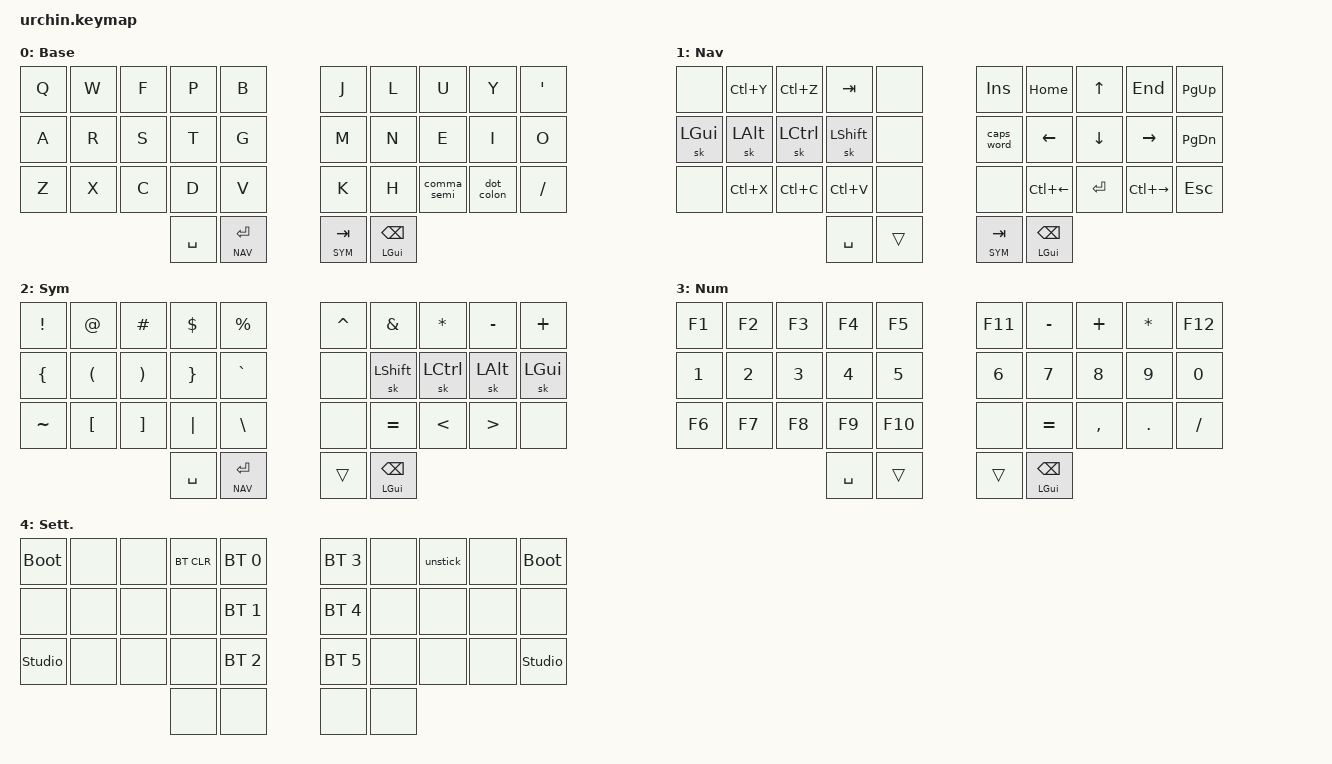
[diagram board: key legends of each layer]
/*
 * Urchin 34-key Colemak-DH keymap
 * Callum-style one-shot mods, tri-layer via conditional layers
 *
 * SPDX-License-Identifier: MIT
 */

#include <behaviors.dtsi>
#include <dt-bindings/zmk/keys.h>
#include <dt-bindings/zmk/bt.h>
#include <dt-bindings/zmk/outputs.h>

// Layer definitions
#define BASE 0
#define NAV 1
#define SYM 2
#define NUM 3
#define SETTINGS 4

/*
 * Key positions (Urchin 34-key):
 *  0  1  2  3  4       5  6  7  8  9
 * 10 11 12 13 14      15 16 17 18 19
 * 20 21 22 23 24      25 26 27 28 29
 *          30 31      32 33
 */

&sk {
	// allow stacking one-shot mods
	ignore-modifiers;
};

/ {
	behaviors {
		// Right outer thumb: tap=Backspace, hold=LGUI
		bspc_gui: backspace_gui {
			compatible = "zmk,behavior-hold-tap";
			#binding-cells = <2>;
			flavor = "balanced";
			tapping-term-ms = <200>;
			bindings = <&kp>, <&kp>;
		};

		// Comma → Semicolon on shift
		comma_semi: comma_semicolon {
			compatible = "zmk,behavior-mod-morph";
			#binding-cells = <0>;
			bindings = <&kp COMMA>, <&kp SEMI>;
			mods = <(MOD_LSFT|MOD_RSFT)>;
		};

		// Period → Colon on shift
		dot_colon: dot_colon {
			compatible = "zmk,behavior-mod-morph";
			#binding-cells = <0>;
			bindings = <&kp DOT>, <&kp COLON>;
			mods = <(MOD_LSFT|MOD_RSFT)>;
		};
	};

	macros {
		// Press all modifiers to unstick phantom held mods
		unstick: unstick {
			compatible = "zmk,behavior-macro";
			#binding-cells = <0>;
			bindings = <&kp LSHIFT &kp RSHIFT &kp LCTRL &kp RCTRL &kp LALT &kp RALT &kp LGUI &kp RGUI>;
		};
	};

	combos {
		compatible = "zmk,combos";

		// W + F → Escape
		combo_esc {
			timeout-ms = <50>;
			require-prior-idle-ms = <150>;
			key-positions = <1 2>;
			bindings = <&kp ESC>;
			layers = <BASE>;
		};

		// N + E → CapsWord
		combo_capsword {
			timeout-ms = <50>;
			require-prior-idle-ms = <150>;
			key-positions = <16 17>;
			bindings = <&caps_word>;
			layers = <BASE>;
		};

		// Both left thumbs → Settings layer
		combo_settings {
			timeout-ms = <200>;
			key-positions = <30 31>;
			bindings = <&mo SETTINGS>;
		};
	};

	conditional_layers {
		compatible = "zmk,conditional-layers";

		// Nav + Sym → Num (tri-layer)
		tri_layer {
			if-layers = <NAV SYM>;
			then-layer = <NUM>;
		};
	};

	keymap {
		compatible = "zmk,keymap";

		// Layer 0: BASE (Colemak-DH)
		// Q  W  F  P  B          J  L  U  Y  '
		// A  R  S  T  G          M  N  E  I  O
		// Z  X  C  D  V          K  H  ,; .: /
		//       Space Nav/Ent    Sym/Tab Bksp/Super
		default_layer {
			label = "Base";
			bindings = <
			&kp Q &kp W &kp F &kp P &kp B          &kp J &kp L &kp U        &kp Y       &kp SQT
			&kp A &kp R &kp S &kp T &kp G          &kp M &kp N &kp E        &kp I       &kp O
			&kp Z &kp X &kp C &kp D &kp V          &kp K &kp H &comma_semi  &dot_colon  &kp FSLH
			             &kp SPACE &lt NAV ENTER     &lt SYM TAB &bspc_gui LGUI BSPC
			>;
		};

		// Layer 1: NAV (hold left inner thumb)
		// ---   Redo  Undo  Tab   ---        Ins   Home  Up    End   PgUp
		// Super Alt   Ctrl  Shift ---        CapsW Left  Down  Right PgDn
		// ---   Cut   Copy  Paste ---        ---   W←    Enter W→    Esc
		//              Space HELD              Sym/Tab Bksp/Super
		nav_layer {
			label = "Nav";
			bindings = <
			&none    &kp LC(Y) &kp LC(Z)  &kp TAB    &none          &kp INS     &kp HOME     &kp UP    &kp END      &kp PG_UP
			&sk LGUI &sk LALT  &sk LCTRL  &sk LSHFT  &none          &caps_word  &kp LEFT     &kp DOWN  &kp RIGHT    &kp PG_DN
			&none    &kp LC(X) &kp LC(C)  &kp LC(V)  &none          &none       &kp LC(LEFT) &kp ENTER &kp LC(RIGHT) &kp ESC
			                   &kp SPACE  &trans                     &lt SYM TAB &bspc_gui LGUI BSPC
			>;
		};

		// Layer 2: SYM (hold right inner thumb)
		// !  @  #  $  %          ^  &  *  -  +
		// {  (  )  }  `          --- Shift Ctrl Alt Super
		// ~  [  ]  |  \          --- =  <  >  ---
		//        Space Nav/Ent     HELD  Bksp/Super
		sym_layer {
			label = "Sym";
			bindings = <
			&kp EXCL  &kp AT   &kp HASH &kp DLLR &kp PRCNT      &kp CARET &kp AMPS  &kp ASTRK &kp MINUS &kp PLUS
			&kp LBRC  &kp LPAR &kp RPAR &kp RBRC &kp GRAVE      &none     &sk LSHFT &sk LCTRL &sk LALT  &sk LGUI
			&kp TILDE &kp LBKT &kp RBKT &kp PIPE &kp BSLH       &none     &kp EQUAL &kp LT    &kp GT    &none
			                   &kp SPACE &lt NAV ENTER            &trans    &bspc_gui LGUI BSPC
			>;
		};

		// Layer 3: NUM (conditional: Nav + Sym)
		// F1  F2  F3  F4  F5         F11 -   +   *   F12
		// 1   2   3   4   5          6   7   8   9   0
		// F6  F7  F8  F9  F10        --- =   ,   .   /
		//            Space ---        ---  Bksp/Super
		num_layer {
			label = "Num";
			bindings = <
			&kp F1 &kp F2 &kp F3 &kp F4 &kp F5       &kp F11 &kp MINUS &kp PLUS  &kp ASTRK &kp F12
			&kp N1 &kp N2 &kp N3 &kp N4 &kp N5       &kp N6  &kp N7    &kp N8    &kp N9    &kp N0
			&kp F6 &kp F7 &kp F8 &kp F9 &kp F10      &none   &kp EQUAL &kp COMMA &kp DOT   &kp FSLH
			                     &kp SPACE &trans      &trans  &bspc_gui LGUI BSPC
			>;
		};

		// Layer 4: SETTINGS (both left thumbs combo)
		settings_layer {
			label = "Sett.";
			bindings = <
			&bootloader    &none &none &bt BT_CLR &bt BT_SEL 0     &bt BT_SEL 3 &none &unstick &none &bootloader
			&none          &none &none &none      &bt BT_SEL 1     &bt BT_SEL 4 &none &none    &none &none
			&studio_unlock &none &none &none      &bt BT_SEL 2     &bt BT_SEL 5 &none &none    &none &studio_unlock
			                          &none      &none             &none        &none
			>;
		};
	};
};
